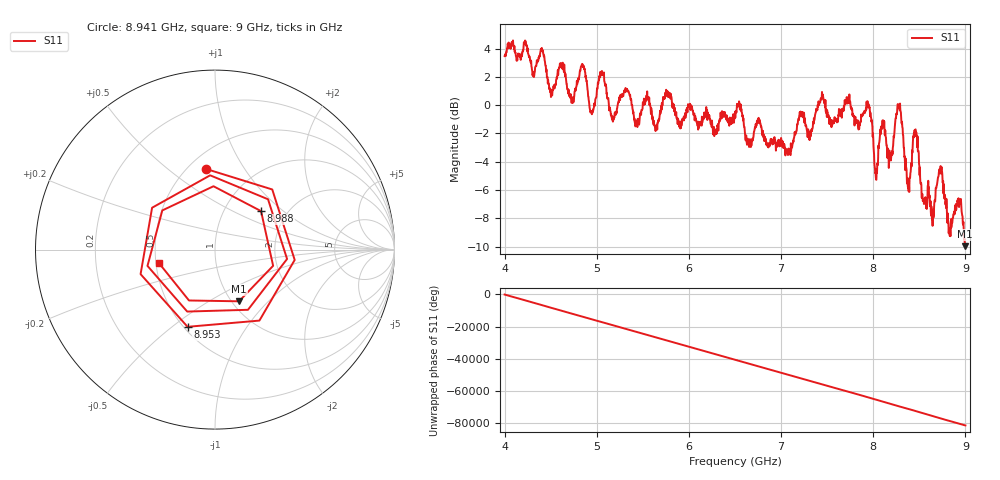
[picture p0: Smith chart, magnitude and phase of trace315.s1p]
! Created with skrf 1.8.0 (http://scikit-rf.org).
# Hz S RI R 50.0
!freq ReS11 ImS11
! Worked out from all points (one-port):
!   1601 points, 4 GHz to 9 GHz, reference 50 ohm
!   lowest |S11| = -10.0 dB at 8.994 GHz (marker M1), VSWR 1.93, Z = 53.9 - j34.6 ohm
!   |S11| at or under -10 dB: nowhere
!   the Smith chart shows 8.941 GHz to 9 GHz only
!   S11 on the Smith chart (normalised r, x): 8.941 GHz: 0.61, +0.69; 8.953 GHz: 0.52, -0.57; 8.988 GHz: 1.48, +0.72; 9 GHz: 0.52, -0.08
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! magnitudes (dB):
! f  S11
! 4 GHz  3.5
! 4.409 GHz  3.9
! 4.509 GHz  1.1
! 4.625 GHz  2.6
! 4.731 GHz  0.2
! 4.85 GHz  2.7
! 4.944 GHz  -0.5
! 5.053 GHz  2.2
! 5.166 GHz  -1.0
! 5.25 GHz  0.5
! 5.875 GHz  -1.0
! 6.5 GHz  -0.5
! 7.125 GHz  -2.7
! 7.75 GHz  0.3
! 7.953 GHz  -0.1
! 8.028 GHz  -5.1
! 8.191 GHz  -3.9
! 8.278 GHz  -0.2
! 8.375 GHz  -5.7
! 8.456 GHz  -1.7
! 8.559 GHz  -6.7
! 8.725 GHz  -4.5
! 8.828 GHz  -9.1
! 8.941 GHz  -6.9
! 8.953 GHz  -6.8
! 8.988 GHz  -9.5
! 8.994 GHz  -10.0
! 9 GHz  -9.8
